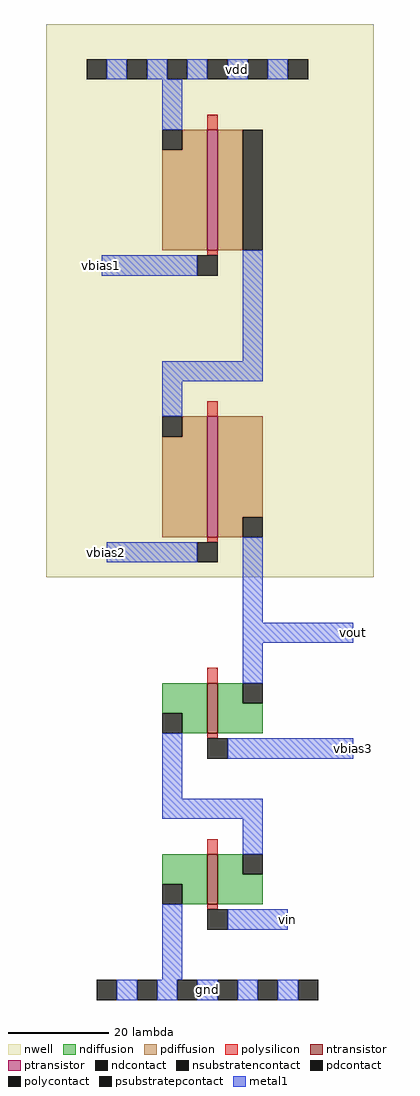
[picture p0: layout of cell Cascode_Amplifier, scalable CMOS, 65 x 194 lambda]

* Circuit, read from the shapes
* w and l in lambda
.subckt Cascode_Amplifier gnd vbias1 vbias2 vbias3 vdd vin vout
M1 n1 vin gnd gnd nfet w=10 l=2
M2 vout vbias3 n1 gnd nfet w=10 l=2
M3 vout vbias2 n2 vdd pfet w=24 l=2
M4 n2 vbias1 vdd vdd pfet w=24 l=2
.ends

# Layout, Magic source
magic
tech scmos
<< nwell >>
rect -33 -59 32 51
<< polysilicon >>
rect -1 30 1 33
rect -1 5 1 6
rect -1 -27 1 -24
rect -1 -52 1 -51
rect -1 -80 1 -77
rect -1 -91 1 -90
rect -1 -114 1 -111
rect -1 -125 1 -124
<< ndiffusion >>
rect -10 -86 -1 -80
rect -6 -90 -1 -86
rect 1 -84 6 -80
rect 1 -90 10 -84
rect -10 -120 -1 -114
rect -6 -124 -1 -120
rect 1 -118 6 -114
rect 1 -124 10 -118
<< pdiffusion >>
rect -6 26 -1 30
rect -10 6 -1 26
rect 1 6 6 30
rect -6 -31 -1 -27
rect -10 -51 -1 -31
rect 1 -47 10 -27
rect 1 -51 6 -47
<< metal1 >>
rect -21 40 -17 44
rect -13 40 -9 44
rect -5 40 -1 44
rect 3 40 7 44
rect 11 40 15 44
rect -10 30 -6 40
rect -22 1 -3 5
rect 6 -16 10 6
rect -10 -20 10 -16
rect -10 -27 -6 -20
rect -21 -56 -3 -52
rect 6 -68 10 -51
rect 6 -72 28 -68
rect 6 -80 10 -72
rect -10 -103 -6 -90
rect 3 -95 28 -91
rect -10 -107 10 -103
rect 6 -114 10 -107
rect -10 -139 -6 -124
rect 3 -129 15 -125
rect -19 -143 -15 -139
rect -11 -143 -7 -139
rect -3 -143 1 -139
rect 5 -143 9 -139
rect 13 -143 17 -139
<< ntransistor >>
rect -1 -90 1 -80
rect -1 -124 1 -114
<< ptransistor >>
rect -1 6 1 30
rect -1 -51 1 -27
<< polycontact >>
rect -3 1 1 5
rect -3 -56 1 -52
rect -1 -95 3 -91
rect -1 -129 3 -125
<< ndcontact >>
rect -10 -90 -6 -86
rect 6 -84 10 -80
rect -10 -124 -6 -120
rect 6 -118 10 -114
<< pdcontact >>
rect -10 26 -6 30
rect 6 6 10 30
rect -10 -31 -6 -27
rect 6 -51 10 -47
<< psubstratepcontact >>
rect -23 -143 -19 -139
rect -15 -143 -11 -139
rect -7 -143 -3 -139
rect 1 -143 5 -139
rect 9 -143 13 -139
rect 17 -143 21 -139
<< nsubstratencontact >>
rect -25 40 -21 44
rect -17 40 -13 44
rect -9 40 -5 44
rect -1 40 3 44
rect 7 40 11 44
rect 15 40 19 44
<< labels >>
rlabel metal1 -22 1 -22 5 1 vbias1
rlabel metal1 5 42 5 42 1 vdd
rlabel metal1 -21 -56 -21 -52 1 vbias2
rlabel metal1 28 -72 28 -68 7 vout
rlabel metal1 28 -95 28 -91 7 vbias3
rlabel metal1 15 -129 15 -125 1 vin
rlabel metal1 -1 -141 -1 -141 1 gnd
<< end >>
